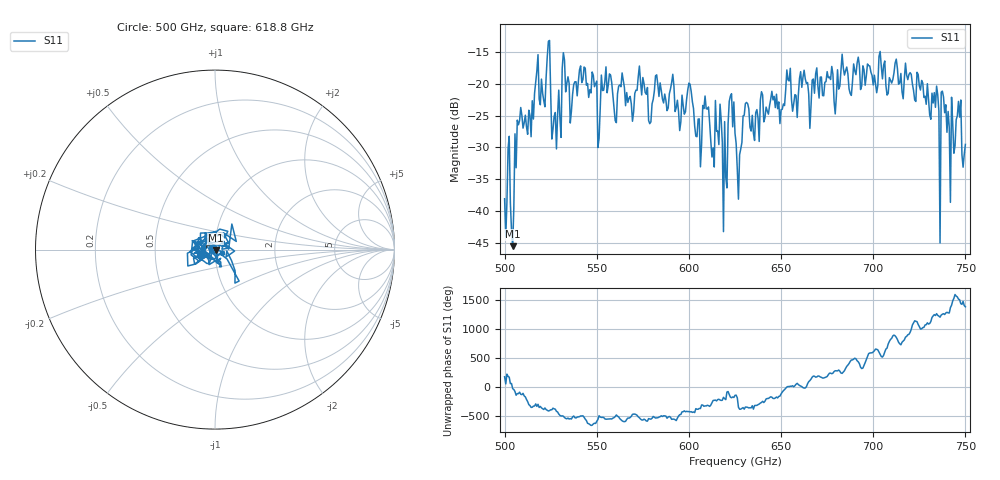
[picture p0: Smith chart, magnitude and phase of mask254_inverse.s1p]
!Created with skrf (http://scikit-rf.org).
# GHz S MA R 50.0
!freq magS11 angS11
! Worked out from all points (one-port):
!   401 points, 500 GHz to 750 GHz, reference 50 ohm
!   lowest |S11| = -45.6 dB at 504.4 GHz (marker M1), VSWR 1.01, Z = 50.4 - j0.287 ohm
!   |S11| at or under -10 dB: start of sweep to end of sweep
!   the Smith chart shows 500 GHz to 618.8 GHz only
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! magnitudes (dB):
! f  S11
! 500 GHz  -38.1
! 504.4 GHz  -45.6
! 508.1 GHz  -25.8
! 523.8 GHz  -13.3
! 526.9 GHz  -25.1
! 531.2 GHz  -17.5
! 551.9 GHz  -23.9
! 562.5 GHz  -20.1
! 593.8 GHz  -22.6
! 600.6 GHz  -20.0
! 605.6 GHz  -25.5
! 609.4 GHz  -23.9
! 612.5 GHz  -31.5
! 616.9 GHz  -23.2
! 619.4 GHz  -25.9
! 623.1 GHz  -21.5
! 625 GHz  -27.7
! 627.5 GHz  -31.1
! 630.6 GHz  -23.1
! 656.2 GHz  -24.3
! 687.5 GHz  -21.5
! 718.8 GHz  -19.3
! 734.4 GHz  -20.3
! 735 GHz  -21.7
! 738.1 GHz  -22.0
! 743.1 GHz  -26.3
! 746.2 GHz  -22.7
! 750 GHz  -29.5
